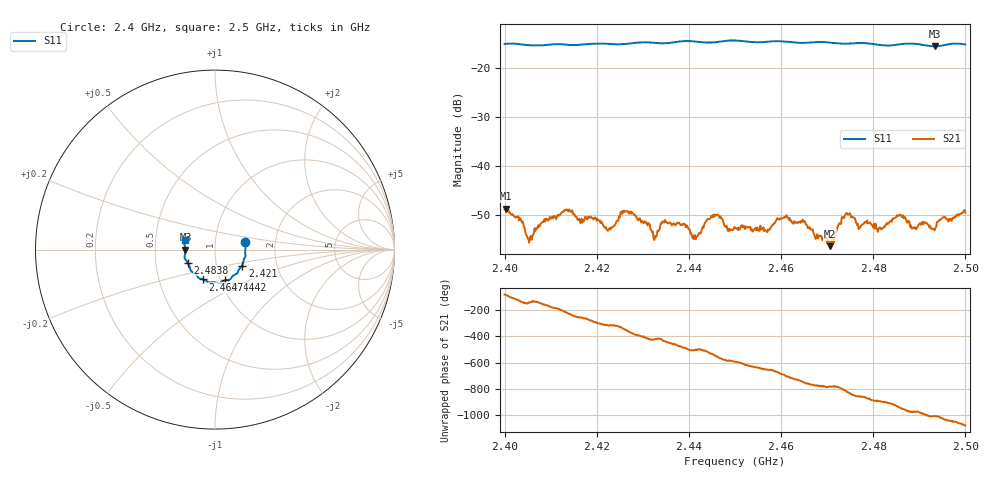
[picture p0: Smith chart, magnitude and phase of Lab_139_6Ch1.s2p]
# Hz S RI R 50
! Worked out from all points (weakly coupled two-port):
!   601 points, 2.4 GHz to 2.5 GHz, reference 50 ohm
!   highest |S21| = -48.72 dB at 2.4003 GHz (marker M1); lowest = -56.4 dB at 2.4707 GHz (marker M2)
!   lowest |S11| = -15.7 dB at 2.4933 GHz (marker M3), VSWR 1.39, Z = 35.8 + j0.014 ohm
!   |S11| at or under -10 dB: start of sweep to end of sweep
!   S12 and S22 are empty: the file has one direction only
!   S11 on the Smith chart (normalised r, x): 2.4 GHz: 1.40, +0.12; 2.421 GHz: 1.33, -0.25; 2.4442 GHz: 1.05, -0.37; 2.4647 GHz: 0.83, -0.28; 2.4838 GHz: 0.73, -0.11; 2.5 GHz: 0.71, +0.08
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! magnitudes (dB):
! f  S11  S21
! 2.4 GHz  -15.2  -48.9
! 2.4003 GHz  -15.1  -48.7
! 2.4055 GHz  -15.4  -54.7
! 2.4132 GHz  -15.3  -48.9
! 2.4167 GHz  -15.3  -50.8
! 2.421 GHz  -15.1  -51.4
! 2.4228 GHz  -15.2  -52.6
! 2.4263 GHz  -15.2  -49.3
! 2.4333 GHz  -15.0  -53.3
! 2.438 GHz  -14.7  -51.8
! 2.4413 GHz  -14.7  -54.1
! 2.4442 GHz  -14.9  -50.8
! 2.45 GHz  -14.5  -52.5
! 2.4647 GHz  -14.9  -50.9
! 2.4667 GHz  -14.8  -53.0
! 2.4707 GHz  -14.9  -56.4
! 2.4745 GHz  -15.1  -50.0
! 2.477 GHz  -15.0  -52.5
! 2.4833 GHz  -15.5  -51.7
! 2.4838 GHz  -15.5  -51.2
! 2.4933 GHz  -15.7  -53.1
! 2.5 GHz  -15.3  -49.5
